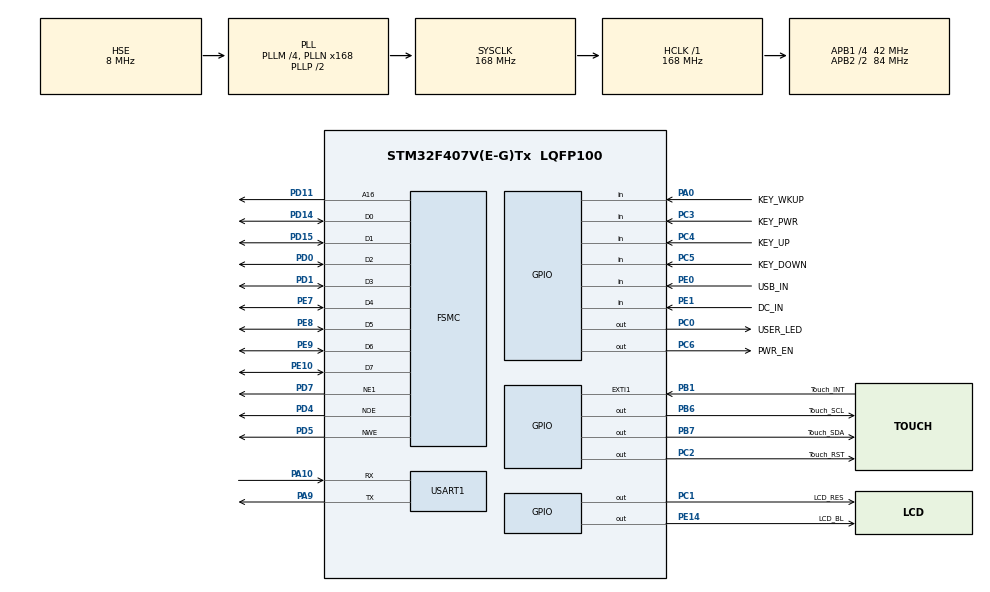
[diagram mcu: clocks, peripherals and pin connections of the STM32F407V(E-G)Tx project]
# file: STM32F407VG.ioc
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FSMC.AddressSetupTime1=1
FSMC.BusTurnAroundDuration1=1
FSMC.DataSetupTime1=5
FSMC.ExtendedAddressSetupTime1=1
FSMC.ExtendedBusTurnAroundDuration1=1
FSMC.ExtendedDataSetupTime1=2
FSMC.ExtendedMode1=FSMC_EXTENDED_MODE_ENABLE
Mcu.Family=STM32F4
Mcu.Name=STM32F407V(E-G)Tx
Mcu.Package=LQFP100
NVIC.EXTI1_IRQn=true\:3\:0\:true\:false\:true\:true\:true\:true
NVIC.PriorityGroup=NVIC_PRIORITYGROUP_4
NVIC.TIM2_IRQn=true\:2\:0\:true\:false\:true\:true\:true\:true
PA0-WKUP.GPIO_Label=KEY_WKUP
PA0-WKUP.GPIO_PuPd=GPIO_PULLUP
PA0-WKUP.Signal=GPIO_Input
PA10.Mode=Asynchronous
PA10.Signal=USART1_RX
PA13.Mode=Serial_Wire
PA13.Signal=SYS_JTMS-SWDIO
PA14.Mode=Serial_Wire
PA14.Signal=SYS_JTCK-SWCLK
PA9.Mode=Asynchronous
PA9.Signal=USART1_TX
PB1.GPIO_Label=Touch_INT
PB1.GPIO_ModeDefaultEXTI=GPIO_MODE_IT_FALLING
PB1.GPIO_PuPd=GPIO_PULLUP
PB1.Signal=GPXTI1
PB6.GPIO_Label=Touch_SCL
PB6.GPIO_ModeDefaultOutputPP=GPIO_MODE_OUTPUT_OD
PB6.GPIO_PuPd=GPIO_PULLUP
PB6.GPIO_Speed=GPIO_SPEED_FREQ_VERY_HIGH
PB6.PinState=GPIO_PIN_SET
PB6.Signal=GPIO_Output
PB7.GPIO_Label=Touch_SDA
PB7.GPIO_ModeDefaultOutputPP=GPIO_MODE_OUTPUT_PP
PB7.GPIO_PuPd=GPIO_PULLUP
PB7.GPIO_Speed=GPIO_SPEED_FREQ_VERY_HIGH
PB7.PinState=GPIO_PIN_SET
PB7.Signal=GPIO_Output
PC0.GPIO_Label=USER_LED
PC0.GPIO_ModeDefaultOutputPP=GPIO_MODE_OUTPUT_PP
PC0.GPIO_PuPd=GPIO_PULLUP
PC0.GPIO_Speed=GPIO_SPEED_FREQ_VERY_HIGH
PC0.PinState=GPIO_PIN_SET
PC0.Signal=GPIO_Output
PC1.GPIO_Label=LCD_RES
PC1.GPIO_PuPd=GPIO_PULLUP
PC1.GPIO_Speed=GPIO_SPEED_FREQ_VERY_HIGH
PC1.PinState=GPIO_PIN_SET
PC1.Signal=GPIO_Output
PC14-OSC32_IN.Mode=LSE-External-Oscillator
PC14-OSC32_IN.Signal=RCC_OSC32_IN
PC15-OSC32_OUT.Mode=LSE-External-Oscillator
PC15-OSC32_OUT.Signal=RCC_OSC32_OUT
PC2.GPIO_Label=Touch_RST
PC2.GPIO_ModeDefaultOutputPP=GPIO_MODE_OUTPUT_PP
PC2.GPIO_PuPd=GPIO_PULLUP
PC2.GPIO_Speed=GPIO_SPEED_FREQ_VERY_HIGH
PC2.PinState=GPIO_PIN_SET
PC2.Signal=GPIO_Output
PC3.GPIO_Label=KEY_PWR
PC3.GPIO_PuPd=GPIO_PULLUP
PC3.Signal=GPIO_Input
PC4.GPIO_Label=KEY_UP
PC4.GPIO_PuPd=GPIO_PULLUP
PC4.Signal=GPIO_Input
PC5.GPIO_Label=KEY_DOWN
PC5.GPIO_PuPd=GPIO_PULLUP
PC5.Signal=GPIO_Input
PC6.GPIO_Label=PWR_EN
PC6.GPIO_PuPd=GPIO_PULLDOWN
PC6.GPIO_Speed=GPIO_SPEED_FREQ_VERY_HIGH
PC6.PinState=GPIO_PIN_RESET
PC6.Signal=GPIO_Output
PD0.Mode=8b-d1
PD0.Signal=FSMC_D2
PD1.Mode=8b-d1
PD1.Signal=FSMC_D3
PD11.Mode=A16_1
PD11.Signal=FSMC_A16
PD14.Mode=8b-d1
PD14.Signal=FSMC_D0
PD15.Mode=8b-d1
PD15.Signal=FSMC_D1
PD4.Mode=Lcd1
PD4.Signal=FSMC_NOE
PD5.Mode=Lcd1
PD5.Signal=FSMC_NWE
PD7.Mode=NorPsramChipSelect1_1
PD7.Signal=FSMC_NE1
PE0.GPIO_Label=USB_IN
PE0.GPIO_PuPd=GPIO_PULLDOWN
PE0.Signal=GPIO_Input
PE1.GPIO_Label=DC_IN
PE1.GPIO_PuPd=GPIO_PULLDOWN
PE1.Signal=GPIO_Input
PE10.Mode=8b-d1
PE10.Signal=FSMC_D7
PE14.GPIO_Label=LCD_BL
PE14.GPIO_ModeDefaultOutputPP=GPIO_MODE_OUTPUT_PP
PE14.GPIO_PuPd=GPIO_PULLDOWN
PE14.GPIO_Speed=GPIO_SPEED_FREQ_VERY_HIGH
PE14.PinState=GPIO_PIN_RESET
PE14.Signal=GPIO_Output
PE7.Mode=8b-d1
PE7.Signal=FSMC_D4
PE8.Mode=8b-d1
PE8.Signal=FSMC_D5
PE9.Mode=8b-d1
PE9.Signal=FSMC_D6
PH0-OSC_IN.Mode=HSE-External-Oscillator
PH0-OSC_IN.Signal=RCC_OSC_IN
PH1-OSC_OUT.Mode=HSE-External-Oscillator
PH1-OSC_OUT.Signal=RCC_OSC_OUT
ProjectManager.HeapSize=0x200
ProjectManager.StackSize=0x400
ProjectManager.TargetToolchain=MDK-ARM V5.32
RCC.48MHZClocksFreq_Value=84000000
RCC.AHBFreq_Value=168000000
RCC.APB1CLKDivider=RCC_HCLK_DIV4
RCC.APB1Freq_Value=42000000
RCC.APB1TimFreq_Value=84000000
RCC.APB2CLKDivider=RCC_HCLK_DIV2
RCC.APB2Freq_Value=84000000
RCC.APB2TimFreq_Value=168000000
RCC.CortexFreq_Value=168000000
RCC.HCLKFreq_Value=168000000
RCC.HSE_VALUE=8000000
RCC.HSI_VALUE=16000000
RCC.PLLM=4
RCC.PLLN=168
RCC.PLLSourceVirtual=RCC_PLLSOURCE_HSE
RCC.SYSCLKFreq_VALUE=168000000
RCC.SYSCLKSource=RCC_SYSCLKSOURCE_PLLCLK
RCC.VCOOutputFreq_Value=336000000
TIM2.AutoReloadPreload=TIM_AUTORELOAD_PRELOAD_ENABLE
TIM2.Period=10-1
TIM2.Prescaler=8400-1
USART1.VirtualMode=VM_ASYNC
VP_TIM2_VS_ClockSourceINT.Mode=Internal
board=custom

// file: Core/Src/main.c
/* USER CODE BEGIN Header */
/**
  ******************************************************************************
  * @file           : main.c
  * @brief          : Main program body
  ******************************************************************************
  * @attention
  *
  * Copyright (c) 2022 STMicroelectronics.
  * All rights reserved.
  *
  * This software is licensed under terms that can be found in the LICENSE file
  * in the root directory of this software component.
  * If no LICENSE file comes with this software, it is provided AS-IS.
  *
  ******************************************************************************
  */
/* USER CODE END Header */
#include "main.h"
#include "tim.h"
#include "usart.h"
#include "gpio.h"
#include "fsmc.h"

/* USER CODE BEGIN Includes */
#include "led.h"
#include "lcd.h"
#include "sys.h"
#include "delay.h"
#include "key.h"
#include "control.h"
#include "touch.h"
#include "lvgl.h"
#include "lv_port_disp.h"
#include "lv_port_indev.h"
#include "stm32f4xx_it.h"

#include "lv_demo_benchmark.h"
#include "lv_demo_music.h"
#include "lv_demo_widgets.h"
#include "lv_demo_stress.h"
/* USER CODE END Includes */

void SystemClock_Config(void);

int main(void)
{
  /* USER CODE BEGIN 1 */
	u8 x=0;
	u16 color_data[21]={WHITE,BLACK,BLUE,BRED,GRED,GBLUE,RED,MAGENTA,GREEN,CYAN,YELLOW,BROWN,BRRED,GRAY,DARKBLUE,LIGHTBLUE,GRAYBLUE,LIGHTGREEN,LGRAY,LGRAYBLUE,LBBLUE};
  /* USER CODE END 1 */

  /* MCU Configuration--------------------------------------------------------*/

  /* Reset of all peripherals, Initializes the Flash interface and the Systick. */
  HAL_Init();

  /* Configure the system clock */
  SystemClock_Config();

  /* Initialize all configured peripherals */
  MX_GPIO_Init();
  MX_FSMC_Init();
  MX_USART1_UART_Init();
  MX_TIM2_Init();
  /* USER CODE BEGIN 2 */
	delay_init(168);
	KEY_PWR_Scanf();
	LCD_Init();
	cst026_init();
//	NVIC_Init();
	HAL_TIM_Base_Start_IT(&htim2);
	lv_init();
	lv_port_disp_init();
	lv_port_indev_init();
  /* USER CODE END 2 */

  /* Infinite loop */
  /* USER CODE BEGIN WHILE */
//	lv_demo_benchmark();
	lv_demo_music();
//	lv_demo_widgets();
//	lv_demo_stress();
  while (1)
  {
		lv_timer_handler();
		led_off();
		delay_ms(5);
    /* USER CODE END WHILE */

  }
}

void SystemClock_Config(void)
{
  RCC_OscInitTypeDef RCC_OscInitStruct = {0};
  RCC_ClkInitTypeDef RCC_ClkInitStruct = {0};

  /** Configure the main internal regulator output voltage
  */
  __HAL_RCC_PWR_CLK_ENABLE();
  __HAL_PWR_VOLTAGESCALING_CONFIG(PWR_REGULATOR_VOLTAGE_SCALE1);

  /** Initializes the RCC Oscillators according to the specified parameters
  * in the RCC_OscInitTypeDef structure.
  */
  RCC_OscInitStruct.OscillatorType = RCC_OSCILLATORTYPE_HSE;
  RCC_OscInitStruct.HSEState = RCC_HSE_ON;
  RCC_OscInitStruct.PLL.PLLState = RCC_PLL_ON;
  RCC_OscInitStruct.PLL.PLLSource = RCC_PLLSOURCE_HSE;
  RCC_OscInitStruct.PLL.PLLM = 4;
  RCC_OscInitStruct.PLL.PLLN = 168;
  RCC_OscInitStruct.PLL.PLLP = RCC_PLLP_DIV2;
  RCC_OscInitStruct.PLL.PLLQ = 4;
  if (HAL_RCC_OscConfig(&RCC_OscInitStruct) != HAL_OK)
  {
    Error_Handler();
  }

  /** Initializes the CPU, AHB and APB buses clocks
  */
  RCC_ClkInitStruct.ClockType = RCC_CLOCKTYPE_HCLK|RCC_CLOCKTYPE_SYSCLK
                              |RCC_CLOCKTYPE_PCLK1|RCC_CLOCKTYPE_PCLK2;
  RCC_ClkInitStruct.SYSCLKSource = RCC_SYSCLKSOURCE_PLLCLK;
  RCC_ClkInitStruct.AHBCLKDivider = RCC_SYSCLK_DIV1;
  RCC_ClkInitStruct.APB1CLKDivider = RCC_HCLK_DIV4;
  RCC_ClkInitStruct.APB2CLKDivider = RCC_HCLK_DIV2;

  if (HAL_RCC_ClockConfig(&RCC_ClkInitStruct, FLASH_LATENCY_5) != HAL_OK)
  {
    Error_Handler();
  }
}

void Error_Handler(void)
{
  __disable_irq();
  while (1)
  {
  }
}
